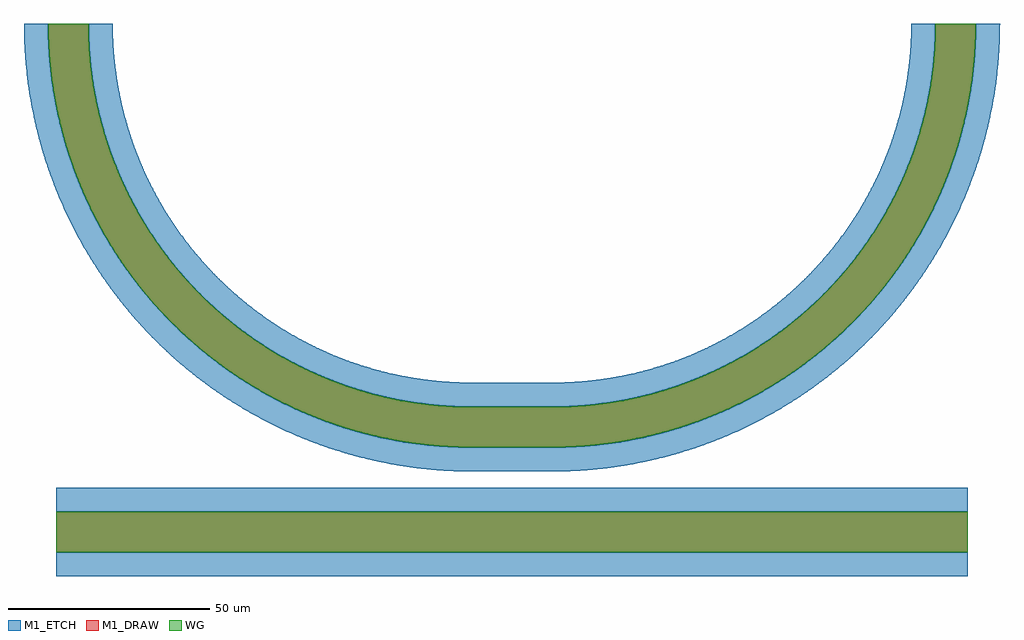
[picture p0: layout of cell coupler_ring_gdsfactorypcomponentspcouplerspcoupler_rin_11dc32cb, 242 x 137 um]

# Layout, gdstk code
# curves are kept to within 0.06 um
import gdstk
lib = gdstk.Library(unit=1e-6, precision=1e-09)
def R(c, l, rs):  # rectangles x0, y0, x1, y1
    for r in rs: c.add(gdstk.rectangle(r[:2], r[2:], *l))
def P(c, l, *ps):  # polygons
    for p in ps: c.add(gdstk.Polygon(p, *l))
M1_DRAW = (1, 0)
M1_ETCH = (1, 1)
WG = (102, 0)

coupler_ring_gdsfactoryp = lib.new_cell('coupler_ring_gdsfactorypcomponentspcouplerspcoupler_rin_11dc32cb')
R(coupler_ring_gdsfactoryp, M1_DRAW, [(-123,-5,103,5)])
P(coupler_ring_gdsfactoryp, M1_DRAW, [(-20.264,21),(-25.284,21.133),(-30.555,21.532),(-35.799,22.195),(-40.744,23.069),(-45.641,24.179),(-50.733,25.598),(-55.498,27.182),(-60.426,29.094),(-65.251,31.251),(-69.73,33.523),(-74.32,36.143),(-78.774,38.99),(-82.866,41.9),(-87.019,45.17),(-91.002,48.645),(-94.433,51.941),(-97.889,55.584),(-101.334,59.593),(-104.572,63.77),(-107.451,67.885),(-110.265,72.36),(-112.602,76.503),(-114.862,80.987),(-117.007,85.818),(-118.818,90.502),(-120.402,95.267),(-121.821,100.359),(-122.931,105.256),(-123.805,110.201),(-124.468,115.445),(-124.867,120.716),(-125,126),(-115,126),(-114.88,121.219),(-114.47,115.975),(-113.808,110.997),(-112.934,106.295),(-111.825,101.643),(-110.336,96.598),(-108.656,91.866),(-106.826,87.447),(-104.776,83.127),(-102.392,78.707),(-99.778,74.42),(-97.081,70.47),(-94.189,66.662),(-91.109,63.003),(-87.681,59.334),(-83.887,55.69),(-80.636,52.868),(-77.071,50.053),(-73.374,47.411),(-69.76,45.074),(-66.043,42.903),(-62.232,40.903),(-58.553,39.174),(-54.357,37.43),(-50.31,35.965),(-45.971,34.619),(-42.038,33.591),(-37.829,32.688),(-33.348,31.942),(-29.074,31.434),(-24.781,31.12),(-20.239,31),(0.478,31.001),(6.213,31.203),(10.501,31.582),(14.531,32.118),(18.768,32.872),(22.967,33.818),(27.806,35.16),(32.342,36.675),(37.017,38.508),(41.157,40.378),(45.414,42.558),(49.556,44.949),(53.572,47.546),(57.452,50.341),(61.552,53.637),(65.636,57.32),(69.5,61.233),(73.132,65.364),(76.518,69.697),(79.648,74.219),(82.511,78.915),(85.097,83.768),(87.304,88.543),(89.325,93.658),(91.047,98.881),(92.464,104.195),(93.571,109.582),(94.364,115.024),(94.841,120.503),(95,126),(105,126),(104.839,120.188),(104.357,114.394),(103.598,108.896),(102.492,103.188),(101.072,97.55),(99.428,92.249),(97.407,86.797),(95.2,81.705),(92.602,76.503),(89.857,71.68),(86.713,66.789),(83.463,62.29),(79.98,57.969),(75.909,53.455),(71.97,49.545),(67.628,45.679),(63.5,42.377),(58.774,38.99),(54.094,36.007),(49.03,33.15),(44.055,30.689),(38.958,28.495),(33.751,26.572),(28.45,24.928),(23.586,23.683),(18.407,22.626),(13.443,21.864),(8.449,21.34),(5.02,21.12),(1.322,21.008)])
R(coupler_ring_gdsfactoryp, M1_ETCH, [(-123,-11,103,-5), (-123,5,103,11)])
P(coupler_ring_gdsfactoryp, M1_ETCH, [(-20.239,31),(-24.781,31.12),(-29.55,31.481),(-34.058,32.046),(-38.768,32.872),(-43.199,33.876),(-47.806,35.16),(-52.342,36.675),(-56.576,38.323),(-60.726,40.172),(-64.783,42.217),(-68.737,44.454),(-72.779,47.01),(-76.495,49.624),(-80.452,52.716),(-83.887,55.69),(-87.344,58.994),(-90.471,62.291),(-93.436,65.733),(-96.376,69.505),(-98.99,73.221),(-101.546,77.263),(-103.783,81.217),(-105.828,85.274),(-107.769,89.645),(-109.487,94.108),(-110.84,98.194),(-112.124,102.801),(-113.175,107.466),(-113.954,111.942),(-114.543,116.688),(-114.88,121.219),(-115,126),(-109,126),(-108.876,121.297),(-108.549,117.054),(-107.953,112.387),(-107.156,107.978),(-106.139,103.615),(-104.903,99.308),(-103.53,95.28),(-101.79,90.909),(-99.921,86.837),(-97.74,82.669),(-95.341,78.622),(-92.862,74.891),(-90.335,71.465),(-87.355,67.825),(-84.342,64.509),(-81.003,61.195),(-77.835,58.353),(-74.535,55.665),(-71.293,53.267),(-67.757,50.898),(-63.917,48.59),(-60.365,46.68),(-56.527,44.841),(-52.605,43.187),(-49.032,41.868),(-44.976,40.576),(-40.864,39.48),(-36.703,38.581),(-32.505,37.883),(-28.501,37.407),(-24.703,37.124),(-20.224,37),(0.448,37.001),(5.597,37.176),(9.838,37.545),(13.613,38.047),(17.583,38.754),(21.517,39.64),(25.835,40.832),(30.299,42.316),(34.679,44.034),(38.76,45.883),(42.743,47.935),(46.808,50.303),(50.558,52.754),(54.535,55.665),(57.835,58.353),(61.003,61.195),(64.032,64.186),(66.914,67.318),(69.782,70.76),(72.474,74.342),(74.861,77.866),(77.188,81.694),(79.921,86.837),(82.311,92.148),(84.349,97.604),(86.025,103.182),(87.29,108.637),(88.268,114.605),(88.824,120.403),(89,126),(95,126),(94.841,120.503),(94.418,115.499),(93.692,110.289),(92.679,105.127),(91.381,100.029),(89.881,95.237),(88.041,90.309),(85.93,85.49),(83.556,80.796),(80.926,76.24),(77.911,71.641),(74.93,67.6),(71.582,63.542),(68.182,59.847),(64.416,56.174),(60.452,52.716),(56.495,49.624),(52.381,46.746),(48.326,44.21),(43.725,41.66),(39.207,39.468),(34.357,37.43),(29.402,35.664),(24.819,34.299),(20.64,33.269),(16.182,32.388),(11.688,31.722),(6.929,31.253),(0.957,31.005)],
  [(-20.279,15),(-25.865,15.155),(-30.88,15.534),(-36.149,16.181),(-41.655,17.133),(-46.564,18.225),(-52.222,19.78),(-57.526,21.536),(-62.478,23.449),(-67.585,25.717),(-72.325,28.107),(-76.946,30.72),(-81.9,33.862),(-86.235,36.927),(-90.418,40.196),(-94.647,43.848),(-98.489,47.511),(-102.152,51.353),(-105.804,55.582),(-109.073,59.765),(-112.138,64.1),(-115.28,69.054),(-117.893,73.675),(-120.283,78.415),(-122.551,83.522),(-124.464,88.474),(-126.22,93.778),(-127.775,99.436),(-128.867,104.345),(-129.819,109.851),(-130.466,115.12),(-130.873,120.693),(-131,126),(-125,126),(-124.824,119.924),(-124.297,113.869),(-123.374,107.593),(-122.136,101.642),(-120.479,95.52),(-118.547,89.757),(-116.179,83.873),(-113.58,78.378),(-111.457,74.418),(-109.306,70.778),(-107.01,67.226),(-104.258,63.345),(-101.334,59.593),(-98.594,56.372),(-95.543,53.074),(-92.354,49.909),(-88.833,46.709),(-84.963,43.509),(-80.945,40.497),(-76.788,37.681),(-72.5,35.067),(-68.092,32.661),(-63.575,30.469),(-59.203,28.593),(-54.751,26.917),(-49.974,25.369),(-45.128,24.051),(-40.225,22.966),(-35.276,22.117),(-30.029,21.48),(-25.02,21.12),(-20.264,21),(1.057,21.005),(7.922,21.299),(12.919,21.798),(17.625,22.49),(22.296,23.394),(27.176,24.578),(32.497,26.155),(37.481,27.917),(42.852,30.142),(47.622,32.42),(52.271,34.935),(56.788,37.681),(61.375,40.805),(65.791,44.167),(69.628,47.406),(73.306,50.825),(76.816,54.416),(80.151,58.17),(83.463,62.29),(86.413,66.353),(89.306,70.778),(91.844,75.11),(94.862,80.987),(97.505,87.042),(99.845,93.503),(101.625,99.591),(103.034,105.775),(104.136,112.557),(104.792,119.396),(105,126),(111,126),(110.83,119.856),(110.32,113.731),(109.472,107.643),(108.349,101.884),(106.998,96.462),(105.199,90.585),(103.077,84.816),(100.757,79.427),(98.025,73.922),(94.992,68.575),(91.825,63.636),(88.232,58.649),(84.369,53.869),(80.247,49.309),(76.286,45.368),(71.706,41.269),(66.906,37.43),(62.364,34.175),(57.425,31.008),(52.078,27.975),(46.573,25.243),(41.443,23.027),(35.944,20.981),(30.345,19.228),(25.478,17.963),(20.008,16.818),(14.765,15.986),(9.489,15.406),(5.307,15.127),(1.397,15.009)])
R(coupler_ring_gdsfactoryp, WG, [(-123,-5,103,5)])
P(coupler_ring_gdsfactoryp, WG, [(-20.264,21),(-25.284,21.133),(-30.555,21.532),(-35.799,22.195),(-40.744,23.069),(-45.641,24.179),(-50.733,25.598),(-55.498,27.182),(-60.426,29.094),(-65.251,31.251),(-69.73,33.523),(-74.32,36.143),(-78.774,38.99),(-82.866,41.9),(-87.019,45.17),(-91.002,48.645),(-94.433,51.941),(-97.889,55.584),(-101.334,59.593),(-104.572,63.77),(-107.451,67.885),(-110.265,72.36),(-112.602,76.503),(-114.862,80.987),(-117.007,85.818),(-118.818,90.502),(-120.402,95.267),(-121.821,100.359),(-122.931,105.256),(-123.805,110.201),(-124.468,115.445),(-124.867,120.716),(-125,126),(-115,126),(-114.88,121.219),(-114.47,115.975),(-113.808,110.997),(-112.934,106.295),(-111.825,101.643),(-110.336,96.598),(-108.656,91.866),(-106.826,87.447),(-104.776,83.127),(-102.392,78.707),(-99.778,74.42),(-97.081,70.47),(-94.189,66.662),(-91.109,63.003),(-87.681,59.334),(-83.887,55.69),(-80.636,52.868),(-77.071,50.053),(-73.374,47.411),(-69.76,45.074),(-66.043,42.903),(-62.232,40.903),(-58.553,39.174),(-54.357,37.43),(-50.31,35.965),(-45.971,34.619),(-42.038,33.591),(-37.829,32.688),(-33.348,31.942),(-29.074,31.434),(-24.781,31.12),(-20.239,31),(0.478,31.001),(6.213,31.203),(10.501,31.582),(14.531,32.118),(18.768,32.872),(22.967,33.818),(27.806,35.16),(32.342,36.675),(37.017,38.508),(41.157,40.378),(45.414,42.558),(49.556,44.949),(53.572,47.546),(57.452,50.341),(61.552,53.637),(65.636,57.32),(69.5,61.233),(73.132,65.364),(76.518,69.697),(79.648,74.219),(82.511,78.915),(85.097,83.768),(87.304,88.543),(89.325,93.658),(91.047,98.881),(92.464,104.195),(93.571,109.582),(94.364,115.024),(94.841,120.503),(95,126),(105,126),(104.839,120.188),(104.357,114.394),(103.598,108.896),(102.492,103.188),(101.072,97.55),(99.428,92.249),(97.407,86.797),(95.2,81.705),(92.602,76.503),(89.857,71.68),(86.713,66.789),(83.463,62.29),(79.98,57.969),(75.909,53.455),(71.97,49.545),(67.628,45.679),(63.5,42.377),(58.774,38.99),(54.094,36.007),(49.03,33.15),(44.055,30.689),(38.958,28.495),(33.751,26.572),(28.45,24.928),(23.586,23.683),(18.407,22.626),(13.443,21.864),(8.449,21.34),(5.02,21.12),(1.322,21.008)])

lib.write_gds('coupler_ring_gdsfactorypcomponentspcouplerspcoupler_rin_11dc32cb.gds')
